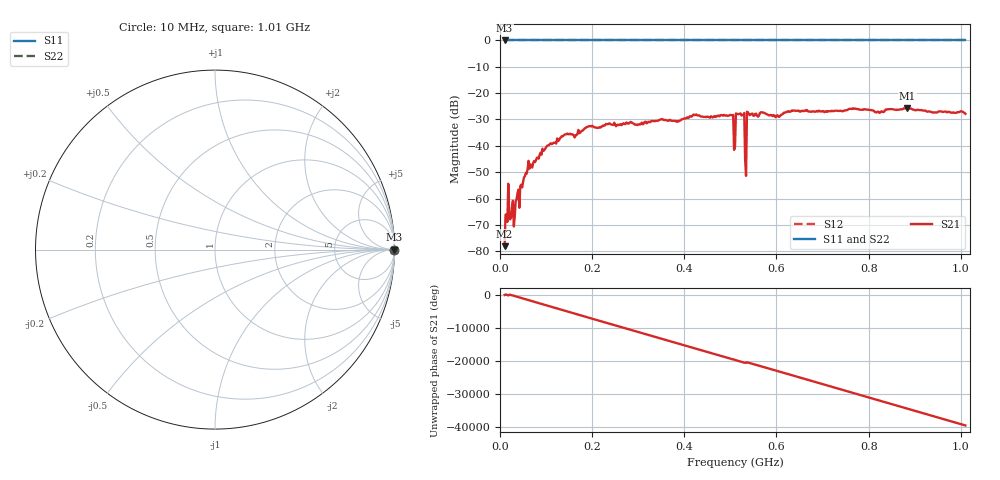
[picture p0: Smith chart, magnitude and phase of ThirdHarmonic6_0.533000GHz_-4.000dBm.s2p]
! 8/15/2025 4:36:28 PM
! C:\ANRITSUVNA\TEMP\TEMP.S2P
! CHANNEL.1
! TR.MEASUREMENT
! RAW.DATA
! RF.CORRECTION.OFF
! AVERAGING.OFF
! IF.BANDWIDTH: 5KHZ
! SWEEPTYPE:  FREQ.SWEEP(Linear)
! Reference Plane Port Info
! PORT:  PORT1  PORT2
! DISTANCE:  0  m  0  m
! TIME:  0  s  0  s
! PHASE.OFFSET:  0  deg.  0  deg.
! LOSS:  0  dB  0  dB
! REF.LOSS:  0  dB  0  dB
! REF.FREQ:  0  Hz  0  Hz
! Power Info
! POWER:  -20  dBm  -20  dBm
! EFF.POWER:  -20  dBm  -20  dBm
! SOURCE.ATTEN:  0  dB  0  dB
! TEST.ATTEN:  0  dB  0  dB
# GHZ S RI R 50.0
! FREQ.GHZ  S11RE  S11IM  S21RE  S21IM  S12RE  S12IM  S22RE  S22IM
!; PortSelection: Port_12
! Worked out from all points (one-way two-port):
!   501 points, 10 MHz to 1.01 GHz, reference 50 ohm
!   highest |S21| = -25.60 dB at 884 MHz (marker M1); lowest = -78.1 dB at 10 MHz (marker M2)
!   lowest |S11| = 0.0 dB at 10 MHz (marker M3)
!   |S11| at or under -10 dB: nowhere
!   |S22| runs from 0.0 to 0.0 dB; largest |S21 - S12| = 1.1
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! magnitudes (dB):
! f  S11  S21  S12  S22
! 10 MHz  0.0  -78.1  0.0  0.0
! 16 MHz  0.0  -68.9  0.0  0.0
! 28 MHz  0.0  -60.9  0.0  0.0
! 64 MHz  0.0  -48.7  0.0  0.0
! 106 MHz  0.0  -39.8  0.0  0.0
! 178 MHz  0.0  -34.2  0.0  0.0
! 196 MHz  0.0  -32.5  0.0  0.0
! 344 MHz  0.0  -30.4  0.0  0.0
! 502 MHz  0.0  -28.3  0.0  0.0
! 506 MHz  0.0  -28.3  0.0  0.0
! 510 MHz  0.0  -40.3  0.0  0.0
! 512 MHz  0.0  -27.7  0.0  0.0
! 516 MHz  0.0  -27.9  0.0  0.0
! 526 MHz  0.0  -28.3  0.0  0.0
! 530 MHz  0.0  -27.5  0.0  0.0
! 536 MHz  0.0  -27.1  0.0  0.0
! 540 MHz  0.0  -27.8  0.0  0.0
! 602 MHz  0.0  -28.4  0.0  0.0
! 678 MHz  0.0  -26.9  0.0  0.0
! 844 MHz  0.0  -26.1  0.0  0.0
! 884 MHz  0.0  -25.6  0.0  0.0
! 1.01 GHz  0.0  -27.9  0.0  0.0
